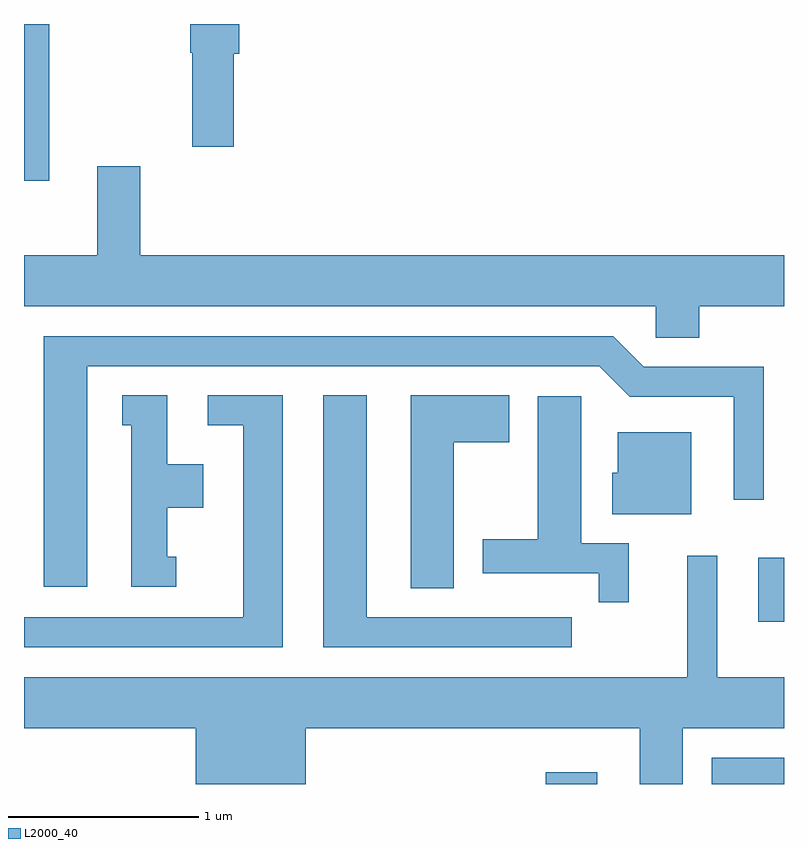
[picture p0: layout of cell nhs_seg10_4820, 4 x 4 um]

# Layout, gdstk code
import gdstk
lib = gdstk.Library(unit=1e-6, precision=1e-09)
def R(c, l, rs):  # rectangles x0, y0, x1, y1
    for r in rs: c.add(gdstk.rectangle(r[:2], r[2:], *l))
def P(c, l, *ps):  # polygons
    for p in ps: c.add(gdstk.Polygon(p, *l))
L2000_40 = (2000, 40)

nhs_seg10_4820 = lib.new_cell('nhs_seg10_4820')
R(nhs_seg10_4820, L2000_40, [(330.356,2102.522,330.628,2102.584), (331.231,2102.522,331.611,2102.659), (331.476,2103.376,331.611,2103.714), (327.611,2105.698,327.744,2106.522)])
P(nhs_seg10_4820, L2000_40, [(328.714,2106.366),(328.744,2106.366),(328.744,2106.522),(328.486,2106.522),(328.486,2106.37),(328.496,2106.37),(328.496,2105.876),(328.714,2105.876)],
  [(331.164,2105.036),(331.611,2105.036),(331.611,2105.304),(328.224,2105.304),(328.224,2105.774),(327.996,2105.774),(327.996,2105.304),(327.611,2105.304),(327.611,2105.036),(330.936,2105.036),(330.936,2104.871),(331.164,2104.871)],
  [(327.944,2104.721),(330.639,2104.721),(330.799,2104.561),(331.346,2104.561),(331.346,2104.018),(331.504,2104.018),(331.504,2104.719),(330.872,2104.719),(330.712,2104.879),(327.716,2104.879),(327.716,2103.561),(327.944,2103.561)],
  [(328.974,2104.569),(328.578,2104.569),(328.578,2104.411),(328.766,2104.411),(328.766,2103.399),(327.611,2103.399),(327.611,2103.241),(328.974,2103.241)],
  [(330.493,2103.399),(329.414,2103.399),(329.414,2104.569),(329.186,2104.569),(329.186,2103.241),(330.493,2103.241)],
  [(328.413,2103.719),(328.364,2103.719),(328.364,2103.976),(328.554,2103.976),(328.554,2104.204),(328.364,2104.204),(328.364,2104.569),(328.128,2104.569),(328.128,2104.411),(328.176,2104.411),(328.176,2103.561),(328.413,2103.561)],
  [(329.874,2104.321),(330.164,2104.321),(330.164,2104.569),(329.646,2104.569),(329.646,2103.551),(329.874,2103.551)],
  [(330.794,2103.789),(330.544,2103.789),(330.544,2104.564),(330.316,2104.564),(330.316,2103.809),(330.026,2103.809),(330.026,2103.631),(330.636,2103.631),(330.636,2103.478),(330.794,2103.478)],
  [(331.124,2104.374),(330.736,2104.374),(330.736,2104.159),(330.706,2104.159),(330.706,2103.941),(331.124,2103.941)],
  [(329.094,2102.816),(330.851,2102.816),(330.851,2102.522),(331.079,2102.522),(331.079,2102.816),(331.611,2102.816),(331.611,2103.084),(331.259,2103.084),(331.259,2103.723),(331.101,2103.723),(331.101,2103.084),(327.611,2103.084),(327.611,2102.816),(328.516,2102.816),(328.516,2102.522),(329.094,2102.522)])

lib.write_gds('nhs_seg10_4820.gds')
